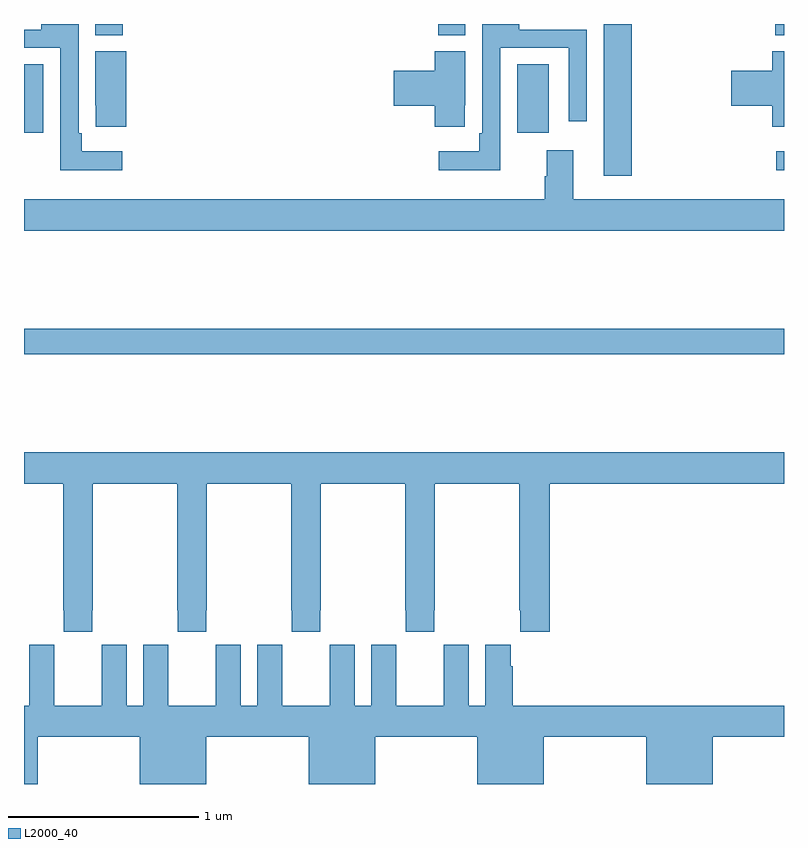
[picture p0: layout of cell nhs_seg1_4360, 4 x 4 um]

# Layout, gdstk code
import gdstk
lib = gdstk.Library(unit=1e-6, precision=1e-09)
def R(c, l, rs):  # rectangles x0, y0, x1, y1
    for r in rs: c.add(gdstk.rectangle(r[:2], r[2:], *l))
def P(c, l, *ps):  # polygons
    for p in ps: c.add(gdstk.Polygon(p, *l))
L2000_40 = (2000, 40)

nhs_seg1_4360 = lib.new_cell('nhs_seg1_4360')
R(nhs_seg1_4360, L2000_40, [(349,504.46,353,504.596), (352.052,505.401,352.199,506.199), (352.959,505.43,353,505.528), (349,505.626,349.102,505.988), (351.596,505.626,351.763,505.988), (349.376,506.14,349.52,506.199), (351.179,506.14,351.322,506.199), (352.955,506.14,353,506.199)])
P(nhs_seg1_4360, L2000_40, [(349.516,505.528),(349.303,505.528),(349.303,505.624),(349.287,505.624),(349.287,506.199),(349.091,506.199),(349.091,506.169),(349,506.169),(349,506.073),(349.191,506.073),(349.191,505.43),(349.516,505.43)],
  [(351.507,506.073),(351.867,506.073),(351.867,505.686),(351.963,505.686),(351.963,506.169),(351.607,506.169),(351.607,506.199),(351.411,506.199),(351.411,505.624),(351.395,505.624),(351.395,505.528),(351.183,505.528),(351.183,505.43),(351.507,505.43)],
  [(353,506.055),(352.937,506.055),(352.937,505.952),(352.722,505.952),(352.722,505.769),(352.937,505.769),(352.937,505.659),(353,505.659)],
  [(349.538,506.055),(349.376,506.055),(349.376,505.771),(349.377,505.771),(349.377,505.659),(349.538,505.659)],
  [(351.321,505.771),(351.322,505.771),(351.322,506.055),(351.161,506.055),(351.161,505.952),(350.946,505.952),(350.946,505.769),(351.161,505.769),(351.161,505.659),(351.321,505.659)],
  [(353,505.276),(351.892,505.276),(351.892,505.534),(351.752,505.534),(351.752,505.397),(351.74,505.397),(351.74,505.276),(349,505.276),(349,505.112),(353,505.112)],
  [(349,503.78),(349.207,503.78),(349.207,503.113),(349.209,503.113),(349.209,503.001),(349.359,503.001),(349.359,503.113),(349.362,503.113),(349.362,503.78),(349.807,503.78),(349.807,503.113),(349.809,503.113),(349.809,503.001),(349.959,503.001),(349.959,503.113),(349.962,503.113),(349.962,503.78),(350.407,503.78),(350.407,503.113),(350.409,503.113),(350.409,503.001),(350.559,503.001),(350.559,503.113),(350.562,503.113),(350.562,503.78),(351.007,503.78),(351.007,503.113),(351.009,503.113),(351.009,503.001),(351.159,503.001),(351.159,503.113),(351.162,503.113),(351.162,503.78),(351.607,503.78),(351.607,503.113),(351.613,503.113),(351.613,503.001),(351.767,503.001),(351.767,503.78),(353,503.78),(353,503.944),(349,503.944)],
  [(349.072,502.448),(349.61,502.448),(349.61,502.199),(349.96,502.199),(349.96,502.448),(350.498,502.448),(350.498,502.199),(350.848,502.199),(350.848,502.448),(351.386,502.448),(351.386,502.199),(351.736,502.199),(351.736,502.448),(352.274,502.448),(352.274,502.199),(352.624,502.199),(352.624,502.448),(353,502.448),(353,502.612),(351.572,502.612),(351.572,502.82),(351.562,502.82),(351.562,502.933),(351.428,502.933),(351.428,502.612),(351.34,502.612),(351.34,502.933),(351.21,502.933),(351.21,502.82),(351.209,502.82),(351.209,502.612),(350.959,502.612),(350.959,502.82),(350.958,502.82),(350.958,502.933),(350.828,502.933),(350.828,502.612),(350.74,502.612),(350.74,502.933),(350.61,502.933),(350.61,502.82),(350.609,502.82),(350.609,502.612),(350.359,502.612),(350.359,502.82),(350.358,502.82),(350.358,502.933),(350.228,502.933),(350.228,502.612),(350.14,502.612),(350.14,502.933),(350.01,502.933),(350.01,502.82),(350.009,502.82),(350.009,502.612),(349.759,502.612),(349.759,502.82),(349.758,502.82),(349.758,502.933),(349.628,502.933),(349.628,502.612),(349.54,502.612),(349.54,502.933),(349.41,502.933),(349.41,502.82),(349.409,502.82),(349.409,502.612),(349.159,502.612),(349.159,502.82),(349.158,502.82),(349.158,502.933),(349.028,502.933),(349.028,502.612),(349,502.612),(349,502.199),(349.072,502.199)])

lib.write_gds('nhs_seg1_4360.gds')
